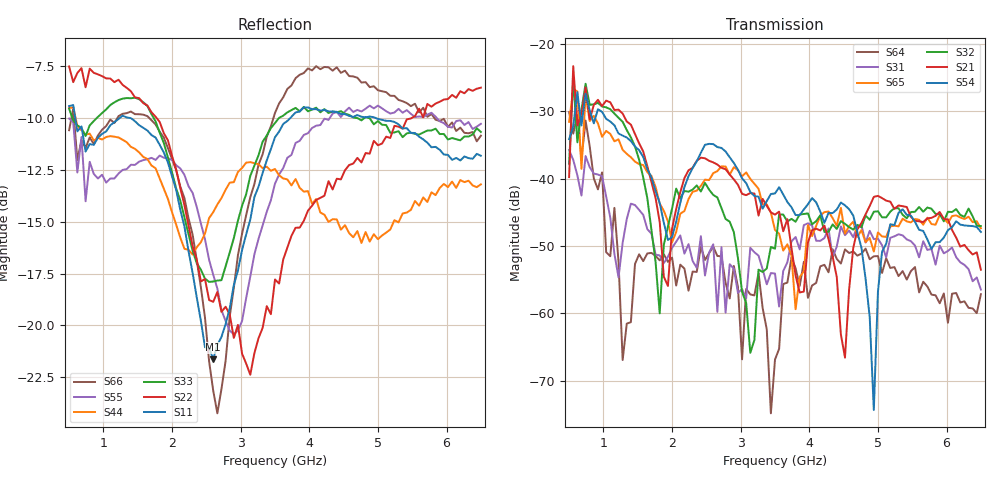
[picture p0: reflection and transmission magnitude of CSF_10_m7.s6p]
!Keysight Technologies,M9804A,MY58100912,A.14.10.03
!Date: Thursday, April 27, 2023 10:28:33
!Correction: S11(C  6-Port  )
!S12(C  6-Port  )
!S13(C  6-Port  )
!S14(C  6-Port  )
!S15(C  6-Port  )
!S16(C  6-Port  )
!S21(C  6-Port  )
!S22(C  6-Port  )
!S23(C  6-Port  )
!S24(C  6-Port  )
!S25(C  6-Port  )
!S26(C  6-Port  )
!S31(C  6-Port  )
!S32(C  6-Port  )
!S33(C  6-Port  )
!S34(C  6-Port  )
!S35(C  6-Port  )
!S36(C  6-Port  )
!S41(C  6-Port  )
!S42(C  6-Port  )
!S43(C  6-Port  )
!S44(C  6-Port  )
!S45(C  6-Port  )
!S46(C  6-Port  )
!S51(C  6-Port  )
!S52(C  6-Port  )
!S53(C  6-Port  )
!S54(C  6-Port  )
!S55(C  6-Port  )
!S56(C  6-Port  )
!S61(C  6-Port  )
!S62(C  6-Port  )
!S63(C  6-Port  )
!S64(C  6-Port  )
!S65(C  6-Port  )
!S66(C  6-Port  )
!S6P File: Measurement: :
# Hz S  RI  R 50
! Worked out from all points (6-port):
!   101 points, 500 MHz to 6.5 GHz, reference 50 ohm
!   strongest paths, dB at 500 MHz, 2 GHz, 3.5 GHz, 5 GHz, 6.5 GHz:
!     S54: -34.1, -48.7, -42.2, -56.8, -47.9
!     S21: -39.8, -47.4, -45.3, -42.5, -53.5
!     S32: -37.8, -44.4, -50.4, -44.8, -47.0
!     S65: -31.6, -49.4, -47.6, -48.0, -47.4
!     S31: -35.7, -50.3, -54.1, -48.9, -56.5
!     S64: -30.1, -51.7, -66.9, -51.5, -57.1
!   lowest |S11| = -21.6 dB at 2.6 GHz (marker M1), VSWR 1.18, Z = 42.6 + j2.05 ohm
!   |S11| at or under -10 dB: 590 MHz to 1.234 GHz (644.4 MHz wide, 70.6 % of centre); 1.402 GHz to 3.72 GHz (2.318 GHz wide, 90.5 % of centre); 4.974 GHz to end of sweep
